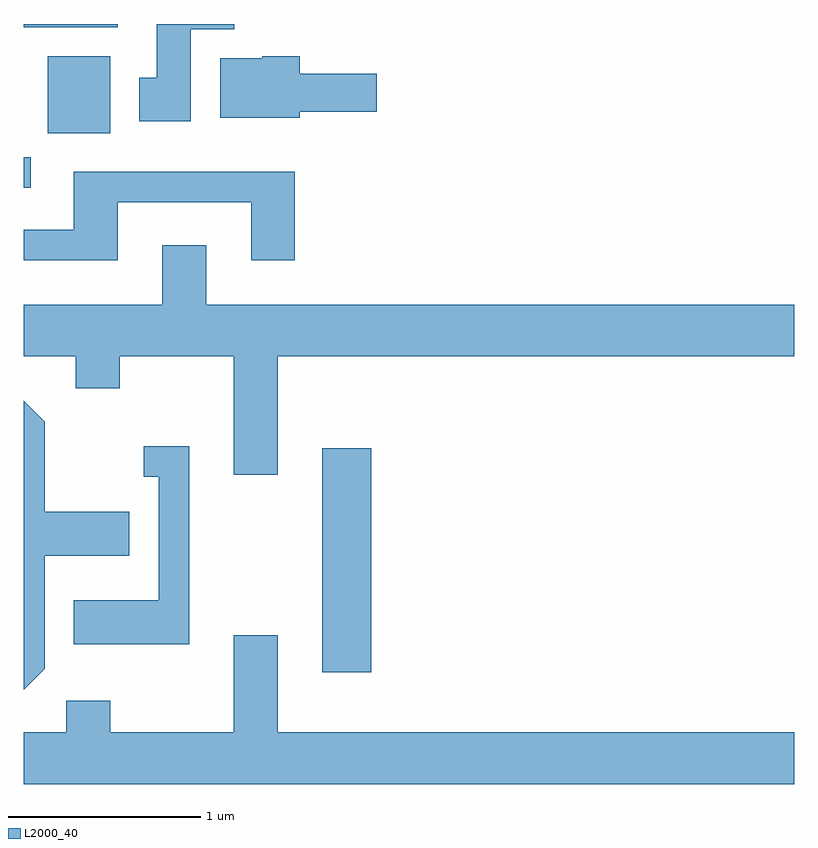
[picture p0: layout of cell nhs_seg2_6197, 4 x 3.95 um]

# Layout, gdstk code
import gdstk
lib = gdstk.Library(unit=1e-6, precision=1e-09)
def R(c, l, rs):  # rectangles x0, y0, x1, y1
    for r in rs: c.add(gdstk.rectangle(r[:2], r[2:], *l))
def P(c, l, *ps):  # polygons
    for p in ps: c.add(gdstk.Polygon(p, *l))
L2000_40 = (2000, 40)

nhs_seg2_6197 = lib.new_cell('nhs_seg2_6197')
R(nhs_seg2_6197, L2000_40, [(369.161,1064.436,369.414,1065.599), (367.611,1066.951,367.648,1067.109), (367.736,1067.236,368.059,1067.634), (367.611,1067.786,368.099,1067.802)])
P(nhs_seg2_6197, L2000_40, [(368.479,1067.776),(368.704,1067.776),(368.704,1067.802),(368.301,1067.802),(368.301,1067.524),(368.211,1067.524),(368.211,1067.296),(368.479,1067.296)],
  [(369.044,1067.346),(369.444,1067.346),(369.444,1067.544),(369.044,1067.544),(369.044,1067.634),(368.85,1067.634),(368.85,1067.624),(368.631,1067.624),(368.631,1067.316),(369.044,1067.316)],
  [(368.099,1066.876),(368.791,1066.876),(368.791,1066.576),(369.019,1066.576),(369.019,1067.034),(367.871,1067.034),(367.871,1066.734),(367.611,1066.734),(367.611,1066.576),(368.099,1066.576)],
  [(368.929,1066.076),(371.611,1066.076),(371.611,1066.344),(368.559,1066.344),(368.559,1066.654),(368.331,1066.654),(368.331,1066.344),(367.611,1066.344),(367.611,1066.076),(367.881,1066.076),(367.881,1065.911),(368.109,1065.911),(368.109,1066.076),(368.701,1066.076),(368.701,1065.461),(368.929,1065.461)],
  [(367.719,1064.454),(367.719,1065.041),(368.159,1065.041),(368.159,1065.269),(367.719,1065.269),(367.719,1065.737),(367.611,1065.845),(367.611,1064.345)],
  [(368.469,1065.609),(368.233,1065.609),(368.233,1065.451),(368.311,1065.451),(368.311,1064.809),(367.871,1064.809),(367.871,1064.581),(368.469,1064.581)],
  [(371.611,1064.124),(368.929,1064.124),(368.929,1064.629),(368.701,1064.629),(368.701,1064.124),(368.059,1064.124),(368.059,1064.289),(367.831,1064.289),(367.831,1064.124),(367.611,1064.124),(367.611,1063.856),(371.611,1063.856)])

lib.write_gds('nhs_seg2_6197.gds')
